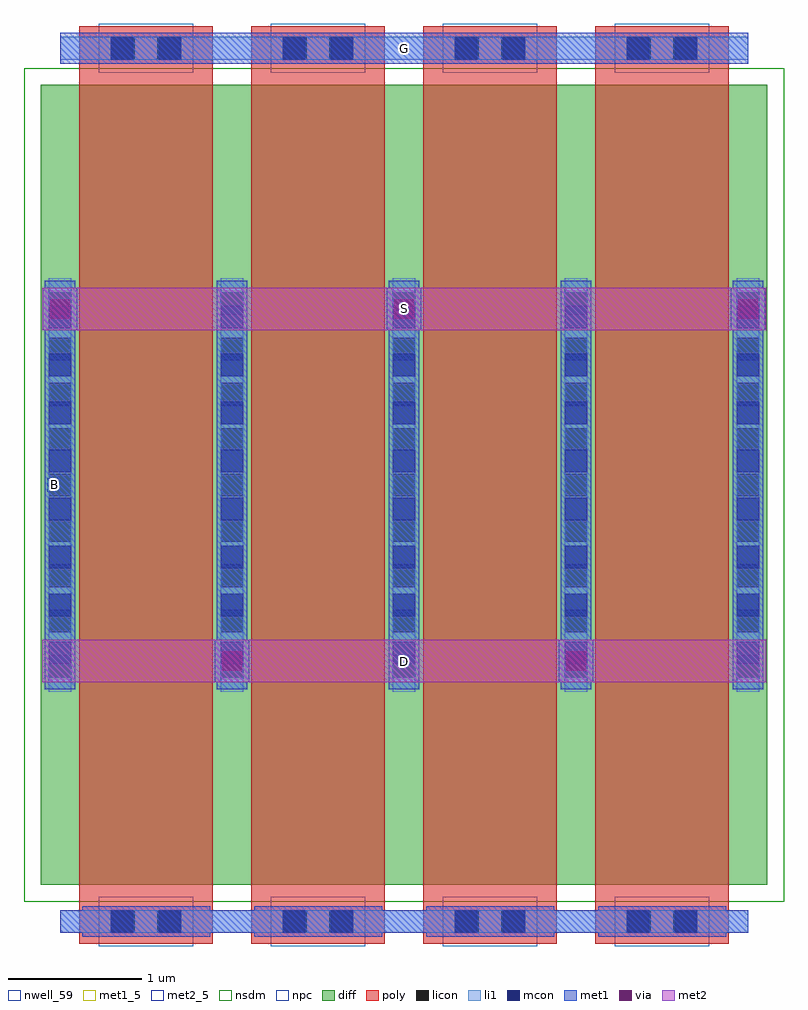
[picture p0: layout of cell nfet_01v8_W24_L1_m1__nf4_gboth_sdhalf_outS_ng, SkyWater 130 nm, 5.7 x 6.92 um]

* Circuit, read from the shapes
.subckt nfet_01v8_W24_L1_m1__nf4_gboth_sdhalf_outS_ng B D G S
XM1 D G S B sky130_fd_pr__nfet_01v8 w=6 l=1 m=4
.ends

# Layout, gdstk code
import gdstk
lib = gdstk.Library(unit=1e-6, precision=1e-09)
def R(c, l, rs):  # rectangles x0, y0, x1, y1
    for r in rs: c.add(gdstk.rectangle(r[:2], r[2:], *l))
def A(c, l, x, y, w, h, nx, ny, dx, dy):  # array of equal rectangles
    R(c, l, [(x+i*dx, y+j*dy, x+i*dx+w, y+j*dy+h) for i in range(nx) for j in range(ny)])
nwell_59 = (64, 59)
diff = (65, 20)
poly = (66, 20)
licon = (66, 44)
li1 = (67, 20)
mcon = (67, 44)
met1_5 = (68, 5)
met1 = (68, 20)
via = (68, 44)
met2_5 = (69, 5)
met2 = (69, 20)
nsdm = (93, 44)
npc = (95, 20)

sky130_fd_pr__nfet_01v8_ = lib.new_cell('sky130_fd_pr__nfet_01v8_HQWJLH')
R(sky130_fd_pr__nfet_01v8_, diff, [(-2.725,-3,2.725,3)])
A(sky130_fd_pr__nfet_01v8_, poly, -2.435, -3.44, 1, 6.88, 4, 1, 1.29, 0)
A(sky130_fd_pr__nfet_01v8_, licon, -2.665, -1.445, 0.17, 0.17, 5, 9, 1.29, 0.34)
R(sky130_fd_pr__nfet_01v8_, licon, [(-2.19,-3.36,-2.02,-3.19), (-1.85,-3.36,-1.68,-3.19), (-0.9,-3.36,-0.73,-3.19), (-0.56,-3.36,-0.39,-3.19), (0.39,-3.36,0.56,-3.19), (0.73,-3.36,0.9,-3.19), (1.68,-3.36,1.85,-3.19), (2.02,-3.36,2.19,-3.19), (-2.19,3.19,-2.02,3.36), (-1.85,3.19,-1.68,3.36), (-0.9,3.19,-0.73,3.36), (-0.56,3.19,-0.39,3.36), (0.39,3.19,0.56,3.36), (0.73,3.19,0.9,3.36), (1.68,3.19,1.85,3.36), (2.02,3.19,2.19,3.36)])
A(sky130_fd_pr__nfet_01v8_, li1, -2.665, -1.55, 0.17, 3.1, 5, 1, 1.29, 0)
R(sky130_fd_pr__nfet_01v8_, li1, [(-2.58,-3.36,2.58,-3.19), (-2.58,3.19,2.58,3.36)])
A(sky130_fd_pr__nfet_01v8_, mcon, -2.665, -1.345, 0.17, 0.17, 5, 8, 1.29, 0.36)
R(sky130_fd_pr__nfet_01v8_, mcon, [(-2.2,-3.36,-2.03,-3.19), (-1.84,-3.36,-1.67,-3.19), (-0.91,-3.36,-0.74,-3.19), (-0.55,-3.36,-0.38,-3.19), (0.38,-3.36,0.55,-3.19), (0.74,-3.36,0.91,-3.19), (1.67,-3.36,1.84,-3.19), (2.03,-3.36,2.2,-3.19), (-2.2,3.19,-2.03,3.36), (-1.84,3.19,-1.67,3.36), (-0.91,3.19,-0.74,3.36), (-0.55,3.19,-0.38,3.36), (0.38,3.19,0.55,3.36), (0.74,3.19,0.91,3.36), (1.67,3.19,1.84,3.36), (2.03,3.19,2.2,3.36)])
A(sky130_fd_pr__nfet_01v8_, met1, -2.415, -3.39, 0.96, 0.03, 4, 2, 1.29, 0.2)
A(sky130_fd_pr__nfet_01v8_, met1, -2.695, -1.53, 0.23, 3.06, 5, 1, 1.29, 0)
A(sky130_fd_pr__nfet_01v8_, met1, -2.415, 3.16, 0.96, 0.03, 4, 2, 1.29, 0.2)
R(sky130_fd_pr__nfet_01v8_, met1, [(-2.58,-3.36,2.58,-3.19), (-2.58,3.19,2.58,3.36)])
R(sky130_fd_pr__nfet_01v8_, nsdm, [(-2.85,-3.125,2.85,3.125)])
A(sky130_fd_pr__nfet_01v8_, npc, -2.29, -3.46, 0.71, 0.37, 4, 2, 1.29, 6.55)
sky130_fd_pr__nfet_01v8_.add(gdstk.Label('D0', (-2.58,0), layer=67, texttype=5))
sky130_fd_pr__nfet_01v8_.add(gdstk.Label('G', (1.935,3.275), layer=67, texttype=5))
sky130_fd_pr__nfet_01v8_.add(gdstk.Label('G', (0.645,3.275), layer=67, texttype=5))
sky130_fd_pr__nfet_01v8_.add(gdstk.Label('G', (-0.645,3.275), layer=67, texttype=5))
sky130_fd_pr__nfet_01v8_.add(gdstk.Label('G', (-1.935,3.275), layer=67, texttype=5))
sky130_fd_pr__nfet_01v8_.add(gdstk.Label('S1', (-1.29,0), layer=67, texttype=5))
sky130_fd_pr__nfet_01v8_.add(gdstk.Label('D2', (0,0), layer=67, texttype=5))
sky130_fd_pr__nfet_01v8_.add(gdstk.Label('S3', (1.29,0), layer=67, texttype=5))

nfet_01v8_w24_l1_m1__nf4 = lib.new_cell('nfet_01v8_W24_L1_m1__nf4_gboth_sdhalf_outS_ng')
R(nfet_01v8_w24_l1_m1__nf4, nwell_59, [(0.05,3.39,0.15,3.49)])
R(nfet_01v8_w24_l1_m1__nf4, met1_5, [(0.145,6.6,5.305,6.83)])
A(nfet_01v8_w24_l1_m1__nf4, met1, 0.015, 4.6, 0.26, 0.32, 3, 1, 2.58, 0)
R(nfet_01v8_w24_l1_m1__nf4, met1, [(1.305,1.96,1.565,2.28), (3.885,1.96,4.145,2.28), (0.145,6.6,5.305,6.83)])
A(nfet_01v8_w24_l1_m1__nf4, via, 0.07, 4.685, 0.15, 0.15, 3, 1, 2.58, 0)
R(nfet_01v8_w24_l1_m1__nf4, via, [(1.36,2.045,1.51,2.195), (3.94,2.045,4.09,2.195)])
R(nfet_01v8_w24_l1_m1__nf4, met2_5, [(0.01,1.96,5.44,2.28), (0.01,4.6,5.44,4.92)])
R(nfet_01v8_w24_l1_m1__nf4, met2, [(0.01,1.96,5.44,2.28), (0.01,4.6,5.44,4.92)])
nfet_01v8_w24_l1_m1__nf4.add(gdstk.Reference(sky130_fd_pr__nfet_01v8_, (2.725,3.44)))
nfet_01v8_w24_l1_m1__nf4.add(gdstk.Label('S', (2.725,4.76), layer=69, texttype=5))
nfet_01v8_w24_l1_m1__nf4.add(gdstk.Label('D', (2.725,2.12), layer=69, texttype=5))
nfet_01v8_w24_l1_m1__nf4.add(gdstk.Label('G', (2.725,6.715), layer=68, texttype=5))
nfet_01v8_w24_l1_m1__nf4.add(gdstk.Label('B', (0.1,3.44), layer=64, texttype=59))

lib.write_gds('nfet_01v8_W24_L1_m1__nf4_gboth_sdhalf_outS_ng.gds')
